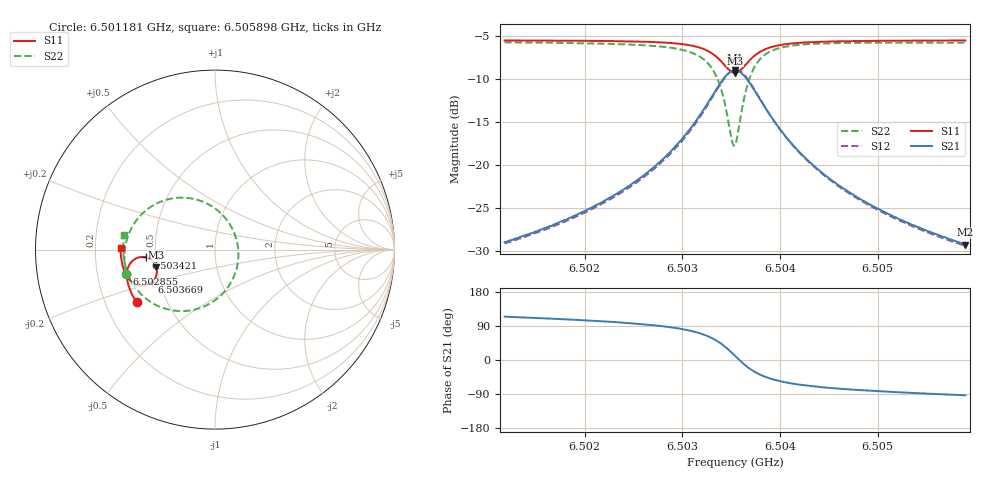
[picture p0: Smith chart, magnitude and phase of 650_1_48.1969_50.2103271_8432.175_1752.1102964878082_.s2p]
#  HZ  S  RI  R  50.00
! Rohde & Schwarz Vector Network Analyzer
! Rohde-Schwarz,ZNB20-2Port,1311601062101988,3.16
! Created: UTC 3/20/2024, 12:05:10 PM
! freq[Hz]  re:S11  im:S11  re:S21  im:S21  re:S12  im:S12  re:S22  im:S22
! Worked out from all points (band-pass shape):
!   401 points, 6.501181 GHz to 6.505898 GHz, reference 50 ohm
!   highest |S21| = -9.04 dB at 6.503539 GHz (marker M1); lowest = -29.2 dB at 6.505898 GHz (marker M2)
!   |S21| within 3 dB of the highest: 6.503304 GHz to 6.503775 GHz (471.4 kHz wide, 0.00725 % of centre)
!   lowest |S11| = -9.3 dB at 6.503539 GHz (marker M3), VSWR 2.04, Z = 25 - j5.52 ohm
!   |S11| at or under -10 dB: nowhere
!   |S22| runs from -17.8 to -5.8 dB; largest |S21 - S12| = 0.013
!   S11 on the Smith chart (normalised r, x): 6.501181 GHz: 0.34, -0.27; 6.502855 GHz: 0.33, -0.12; 6.503421 GHz: 0.44, -0.05; 6.503669 GHz: 0.46, -0.19; 6.505898 GHz: 0.31, +0.01
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6.5011809e9  -0.4372 -0.2931  -0.0148 0.0325  -0.0129 0.0325  -0.4955 -0.1348
6.501971e9  -0.4697 -0.2327  -0.0138 0.0513  -0.0111 0.0508  -0.505 -0.047
6.5023955e9  -0.4836 -0.1935  -0.0105 0.071  -0.00736 0.0698  -0.5 0.0168
6.502761e9  -0.4913 -0.1513  -0.000479 0.1028  0.00367 0.1004  -0.4772 0.0951
6.5028554e9  -0.4914 -0.1377  0.00545 0.1155  0.00954 0.1123  -0.4644 0.1219
6.5030558e9  -0.4855 -0.1031  0.0305 0.1523  0.0345 0.1474  -0.4125 0.1928
6.5031973e9  -0.4689 -0.0726  0.0722 0.1873  0.0752 0.181  -0.3322 0.2531
6.503327e9  -0.4313 -0.0457  0.1523 0.2137  0.1534 0.207  -0.1864 0.2895
6.5034214e9  -0.3828 -0.0435  0.2472 0.1963  0.2478 0.1909  -0.0218 0.2439
6.5035039e9  -0.3381 -0.0746  0.3284 0.1182  0.3316 0.1133  0.1083 0.0904
6.5035393e9  -0.3269 -0.0978  0.3467 0.0673  0.351 0.061  0.13 -0.00542
6.5035629e9  -0.3238 -0.1148  0.3502 0.0312  0.3547 0.0235  0.1273 -0.0719
6.5035982e9  -0.3261 -0.1401  0.3424 -0.0211  0.3464 -0.0312  0.0986 -0.1649
6.503669e9  -0.3495 -0.1789  0.2933 -0.1005  0.2933 -0.1134  -0.0171 -0.2938
6.5037162e9  -0.371 -0.1934  0.2514 -0.1303  0.2483 -0.1431  -0.1049 -0.3321
6.5037751e9  -0.3971 -0.2002  0.2022 -0.1473  0.1964 -0.1583  -0.2013 -0.3422
6.5039284e9  -0.446 -0.191  0.1148 -0.1428  0.1069 -0.1486  -0.359 -0.2913
6.5040935e9  -0.4746 -0.1694  0.0676 -0.1206  0.0604 -0.1233  -0.4355 -0.2223
6.5043293e9  -0.496 -0.1397  0.0358 -0.0942  0.0304 -0.0949  -0.481 -0.1469
6.5046595e9  -0.5108 -0.1035  0.0167 -0.0704  0.0128 -0.07  -0.5036 -0.0745
6.5051194e9  -0.521 -0.0597  0.00544 -0.0513  0.00297 -0.0506  -0.5113 -0.00423
6.5058977e9  -0.5262 0.00717  -0.00191 -0.0345  -0.00336 -0.0336  -0.5046 0.0819
